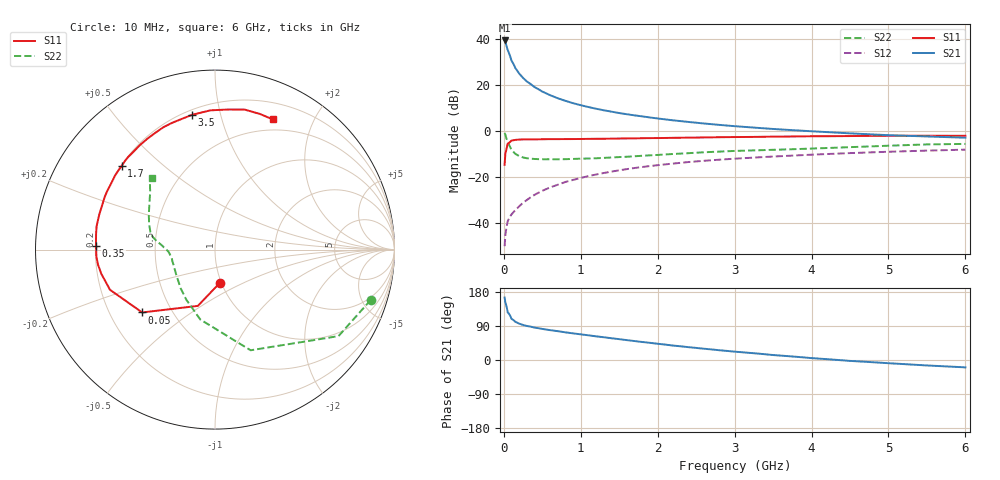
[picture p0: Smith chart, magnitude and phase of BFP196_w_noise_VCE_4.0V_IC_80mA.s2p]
! Infineon Technologies  Discrete & RF Semiconductors
! BFP196
! VCE =  4.0 V,  IC =  80 mA
! Common Emitter S-Parameters:  Jan 2017
# GHz  S  MA  R  50
!  f  S11  S21  S12  S22
! GHz  MAG  ANG  MAG  ANG  MAG  ANG  MAG  ANG
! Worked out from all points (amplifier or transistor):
!   77 points, 10 MHz to 6 GHz, reference 50 ohm
!   highest |S21| = 39.4 dB at 10 MHz (marker M1)
!   |S21| within 3 dB of that: start of sweep to 39.88 MHz
!   unconditionally stable (mu >= 1): 415.6 MHz to 2.398 GHz
!   at 130 MHz: K = 0.74, MSG = 31.9 dB, |S12| = -34.9 dB
!   at 2.2 GHz: K = 1.01, MAG = 8.8 dB, |S12| = -14.1 dB
!   at 6 GHz: K = 0.96, MSG = 2.6 dB, |S12| = -8.0 dB
!   lowest NFmin = 1.78 dB at 450 MHz
!   S11 on the Smith chart (normalised r, x): 10 MHz: 0.99, -0.38; 50 MHz: 0.34, -0.33; 350 MHz: 0.20, +0.02; 1.7 GHz: 0.20, +0.37; 3.5 GHz: 0.23, +0.82; 6 GHz: 0.38, +1.47
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0.01  0.1861 -81.3  92.96 164.9  0.0032 83.5  0.9121 -17.9
0.02  0.3277 -106.9  86.3 151.6  0.0056 74.8  0.8402 -35.0
0.05  0.5361 -139.2  57.89 125.9  0.0111 56.6  0.595 -70.5
0.1  0.6266 -159.1  33.95 108.4  0.0157 58.3  0.398 -101.9
0.15  0.6474 -167.9  23.41 100.7  0.0193 60.5  0.3217 -119.8
0.2  0.6576 -172.8  17.78 95.9  0.0235 63.7  0.2879 -131.7
0.25  0.6619 -176.7  14.3 92.4  0.028 65.1  0.2689 -139.6
0.3  0.6618 -179.6  11.95 89.8  0.0322 66.7  0.2588 -146.1
0.35  0.6628 178.2  10.49 87.9  0.0369 68.4  0.2534 -150.2
0.4  0.6647 176.0  9.038 85.5  0.0416 69.8  0.2493 -154.5
0.5  0.6686 172.2  7.235 82.0  0.0509 69.6  0.2461 -160.0
0.6  0.6725 168.9  6.06 78.8  0.06 69.5  0.2463 -164.4
0.8  0.6739 162.9  4.554 73.0  0.0791 69.0  0.2471 -170.0
1.1  0.6811 154.3  3.338 65.1  0.1061 65.7  0.2557 -175.6
1.4  0.6879 146.2  2.651 57.4  0.1327 61.7  0.2691 -179.8
1.7  0.698 138.2  2.202 50.0  0.1588 57.5  0.2858 177.4
2.1  0.7124 127.9  1.802 40.6  0.1905 51.7  0.3127 173.4
3.1  0.7474 106.9  1.248 20.4  0.2586 37.5  0.3767 163.6
3.5  0.7616 99.7  1.117 13.1  0.2818 32.7  0.3942 158.7
4.1  0.7768 90.4  0.975 3.6  0.3141 25.1  0.4251 149.9
5.1  0.7963 76.8  0.808 -9.6  0.3618 13.3  0.49 137.5
6  0.7935 66.0  0.722 -19.5  0.3978 3.2  0.5301 131.2
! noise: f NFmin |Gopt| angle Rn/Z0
0.45  1.78  0.5  -170  0.06
0.9  1.95  0.53  -157  0.1
1.9  2.8  0.7  -130  0.4
2.4  3.2  0.7  -116  0.87
